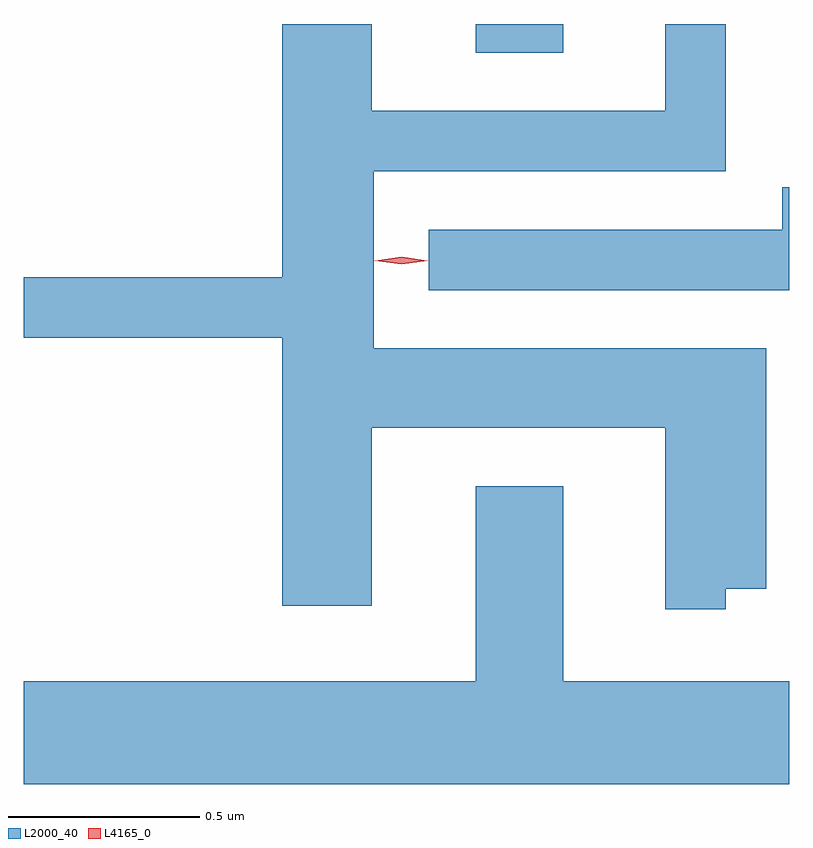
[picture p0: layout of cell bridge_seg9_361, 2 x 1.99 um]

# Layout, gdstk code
import gdstk
lib = gdstk.Library(unit=1e-6, precision=1e-09)
def R(c, l, rs):  # rectangles x0, y0, x1, y1
    for r in rs: c.add(gdstk.rectangle(r[:2], r[2:], *l))
def P(c, l, *ps):  # polygons
    for p in ps: c.add(gdstk.Polygon(p, *l))
L2000_40 = (2000, 40)
L4165_0 = (4165, 0)

bridge_seg9_361 = lib.new_cell('bridge_seg9_361')
R(bridge_seg9_361, L2000_40, [(721.591,1982.626,721.819,1982.701)])
P(bridge_seg9_361, L2000_40, [(722.244,1981.226),(722.349,1981.226),(722.349,1981.854),(721.324,1981.854),(721.324,1982.316),(722.244,1982.316),(722.244,1982.701),(722.086,1982.701),(722.086,1982.474),(721.319,1982.474),(721.319,1982.701),(721.086,1982.701),(721.086,1982.039),(720.41,1982.039),(720.41,1981.881),(721.086,1981.881),(721.086,1981.181),(721.319,1981.181),(721.319,1981.646),(722.086,1981.646),(722.086,1981.173),(722.244,1981.173)],
  [(722.41,1982.274),(722.391,1982.274),(722.391,1982.164),(721.468,1982.164),(721.468,1982.006),(722.41,1982.006)],
  [(722.41,1980.984),(721.819,1980.984),(721.819,1981.494),(721.591,1981.494),(721.591,1980.984),(720.41,1980.984),(720.41,1980.716),(722.41,1980.716)])
P(bridge_seg9_361, L4165_0, [(721.397,1982.073),(721.327,1982.082),(721.327,1982.083),(721.327,1982.083),(721.397,1982.093),(721.466,1982.083),(721.466,1982.083),(721.466,1982.082)],
  [(721.397,1982.073),(721.332,1982.082),(721.331,1982.083),(721.332,1982.083),(721.397,1982.093),(721.462,1982.083),(721.463,1982.083),(721.462,1982.082)])

lib.write_gds('bridge_seg9_361.gds')
